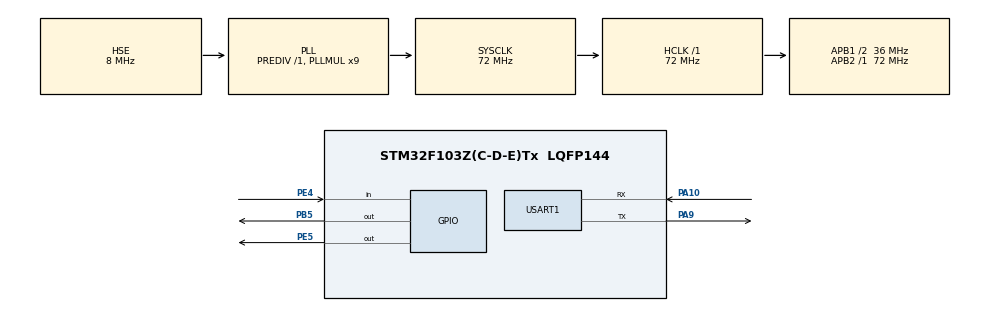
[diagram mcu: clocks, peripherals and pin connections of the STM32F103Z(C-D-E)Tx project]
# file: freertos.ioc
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FREERTOS.Tasks01=defaultTask,0,128,StartDefaultTask,Default,NULL,Dynamic,NULL,NULL;myTask02,0,128,StartTask02,Default,NULL,Dynamic,NULL,NULL;myTask03,-1,128,StartTask03,Default,NULL,Dynamic,NULL,NULL;printTask,-2,128,StartTask04,Default,NULL,Dynamic,NULL,NULL
Mcu.Family=STM32F1
Mcu.Name=STM32F103Z(C-D-E)Tx
Mcu.Package=LQFP144
NVIC.PriorityGroup=NVIC_PRIORITYGROUP_4
NVIC.TIM4_IRQn=true\:15\:0\:false\:false\:true\:false\:false\:true
NVIC.TimeBase=TIM4_IRQn
NVIC.TimeBaseIP=TIM4
OSC_IN.Mode=HSE-External-Oscillator
OSC_IN.Signal=RCC_OSC_IN
OSC_OUT.Mode=HSE-External-Oscillator
OSC_OUT.Signal=RCC_OSC_OUT
PA10.Mode=Asynchronous
PA10.Signal=USART1_RX
PA13.Mode=Serial_Wire
PA13.Signal=SYS_JTMS-SWDIO
PA14.Mode=Serial_Wire
PA14.Signal=SYS_JTCK-SWCLK
PA9.Mode=Asynchronous
PA9.Signal=USART1_TX
PB5.Signal=GPIO_Output
PE4.Signal=GPIO_Input
PE5.Signal=GPIO_Output
ProjectManager.HeapSize=0x200
ProjectManager.StackSize=0x400
ProjectManager.TargetToolchain=MDK-ARM V5.32
RCC.AHBFreq_Value=72000000
RCC.APB1CLKDivider=RCC_HCLK_DIV2
RCC.APB1Freq_Value=36000000
RCC.APB1TimFreq_Value=72000000
RCC.APB2Freq_Value=72000000
RCC.APB2TimFreq_Value=72000000
RCC.HCLKFreq_Value=72000000
RCC.PLLMUL=RCC_PLL_MUL9
RCC.PLLSourceVirtual=RCC_PLLSOURCE_HSE
RCC.SYSCLKFreq_VALUE=72000000
RCC.SYSCLKSource=RCC_SYSCLKSOURCE_PLLCLK
RCC.USBFreq_Value=72000000
USART1.VirtualMode=VM_ASYNC
VP_FREERTOS_VS_CMSIS_V1.Mode=CMSIS_V1
VP_SYS_VS_tim4.Mode=TIM4
board=custom

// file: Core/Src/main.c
/* USER CODE BEGIN Header */
/**
  ******************************************************************************
  * @file           : main.c
  * @brief          : Main program body
  ******************************************************************************
  * @attention
  *
  * <h2><center>&copy; Copyright (c) 2026 STMicroelectronics.
  * All rights reserved.</center></h2>
  *
  * This software component is licensed by ST under Ultimate Liberty license
  * SLA0044, the "License"; You may not use this file except in compliance with
  * the License. You may obtain a copy of the License at:
  *                             www.st.com/SLA0044
  *
  ******************************************************************************
  */
/* USER CODE END Header */
#include "main.h"
#include "cmsis_os.h"
#include "usart.h"
#include "gpio.h"

void SystemClock_Config(void);
void MX_FREERTOS_Init(void);

int main(void)
{

  /* MCU Configuration--------------------------------------------------------*/

  /* Reset of all peripherals, Initializes the Flash interface and the Systick. */
  HAL_Init();

  /* Configure the system clock */
  SystemClock_Config();

  /* Initialize all configured peripherals */
  MX_GPIO_Init();
  MX_USART1_UART_Init();

  /* Call init function for freertos objects (in freertos.c) */
  MX_FREERTOS_Init();
  /* Start scheduler */
  osKernelStart();

  /* We should never get here as control is now taken by the scheduler */
  /* Infinite loop */
  while (1)
  {

  }
}

void SystemClock_Config(void)
{
  RCC_OscInitTypeDef RCC_OscInitStruct = {0};
  RCC_ClkInitTypeDef RCC_ClkInitStruct = {0};

  /** Initializes the RCC Oscillators according to the specified parameters
  * in the RCC_OscInitTypeDef structure.
  */
  RCC_OscInitStruct.OscillatorType = RCC_OSCILLATORTYPE_HSE;
  RCC_OscInitStruct.HSEState = RCC_HSE_ON;
  RCC_OscInitStruct.HSEPredivValue = RCC_HSE_PREDIV_DIV1;
  RCC_OscInitStruct.HSIState = RCC_HSI_ON;
  RCC_OscInitStruct.PLL.PLLState = RCC_PLL_ON;
  RCC_OscInitStruct.PLL.PLLSource = RCC_PLLSOURCE_HSE;
  RCC_OscInitStruct.PLL.PLLMUL = RCC_PLL_MUL9;
  if (HAL_RCC_OscConfig(&RCC_OscInitStruct) != HAL_OK)
  {
    Error_Handler();
  }
  /** Initializes the CPU, AHB and APB buses clocks
  */
  RCC_ClkInitStruct.ClockType = RCC_CLOCKTYPE_HCLK|RCC_CLOCKTYPE_SYSCLK
                              |RCC_CLOCKTYPE_PCLK1|RCC_CLOCKTYPE_PCLK2;
  RCC_ClkInitStruct.SYSCLKSource = RCC_SYSCLKSOURCE_PLLCLK;
  RCC_ClkInitStruct.AHBCLKDivider = RCC_SYSCLK_DIV1;
  RCC_ClkInitStruct.APB1CLKDivider = RCC_HCLK_DIV2;
  RCC_ClkInitStruct.APB2CLKDivider = RCC_HCLK_DIV1;

  if (HAL_RCC_ClockConfig(&RCC_ClkInitStruct, FLASH_LATENCY_2) != HAL_OK)
  {
    Error_Handler();
  }
}

void HAL_TIM_PeriodElapsedCallback(TIM_HandleTypeDef *htim)
{
  if (htim->Instance == TIM4) {
    HAL_IncTick();
  }
}

void Error_Handler(void)
{
  __disable_irq();
  while (1)
  {
  }
}

/************************ (C) COPYRIGHT STMicroelectronics *****END OF FILE****/

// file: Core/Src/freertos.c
/* USER CODE BEGIN Header */
/**
  ******************************************************************************
  * File Name          : freertos.c
  * Description        : Code for freertos applications
  ******************************************************************************
  * @attention
  *
  * <h2><center>&copy; Copyright (c) 2026 STMicroelectronics.
  * All rights reserved.</center></h2>
  *
  * This software component is licensed by ST under Ultimate Liberty license
  * SLA0044, the "License"; You may not use this file except in compliance with
  * the License. You may obtain a copy of the License at:
  *                             www.st.com/SLA0044
  *
  ******************************************************************************
  */
/* USER CODE END Header */

#include "FreeRTOS.h"
#include "task.h"
#include "main.h"
#include "cmsis_os.h"

/* USER CODE BEGIN PTD */
volatile uint32_t a = 500;
volatile uint32_t b = 1000;
/* USER CODE END PTD */

osThreadId defaultTaskHandle;
osThreadId myTask02Handle;
osThreadId myTask03Handle;
osThreadId helloWorldUpperHandle;
osThreadId helloWorldLowerHandle;
osMutexId serialMutexHandle;

void StartDefaultTask(void const * argument);
void StartTask02(void const * argument);
void StartTask03(void const * argument);
void HelloWorldUpperTask(void const * argument);
void HelloWorldLowerTask(void const * argument);

void MX_FREERTOS_Init(void); /* (MISRA C 2004 rule 8.1) */

/* GetIdleTaskMemory prototype (linked to static allocation support) */
void vApplicationGetIdleTaskMemory( StaticTask_t **ppxIdleTaskTCBBuffer, StackType_t **ppxIdleTaskStackBuffer, uint32_t *pulIdleTaskStackSize );

/* USER CODE BEGIN GET_IDLE_TASK_MEMORY */
static StaticTask_t xIdleTaskTCBBuffer;
static StackType_t xIdleStack[configMINIMAL_STACK_SIZE];

void vApplicationGetIdleTaskMemory( StaticTask_t **ppxIdleTaskTCBBuffer, StackType_t **ppxIdleTaskStackBuffer, uint32_t *pulIdleTaskStackSize )
{
  *ppxIdleTaskTCBBuffer = &xIdleTaskTCBBuffer;
  *ppxIdleTaskStackBuffer = &xIdleStack[0];
  *pulIdleTaskStackSize = configMINIMAL_STACK_SIZE;
  /* place for user code */
}
/* USER CODE END GET_IDLE_TASK_MEMORY */

void MX_FREERTOS_Init(void) {

  /* USER CODE BEGIN RTOS_MUTEX */
  /* add mutexes, ... */
osMutexDef(serialMutex);
  serialMutexHandle = osMutexCreate(osMutex(serialMutex));
  /* USER CODE END RTOS_MUTEX */

  /* Create the thread(s) */
  /* definition and creation of defaultTask */

  osThreadDef(defaultTask, StartDefaultTask, osPriorityNormal, 0, 128);
  defaultTaskHandle = osThreadCreate(osThread(defaultTask), NULL);

	  /* definition and creation of myTask02 */
  osThreadDef(myTask02, StartTask02, osPriorityNormal, 0, 128);
  myTask02Handle = osThreadCreate(osThread(myTask02), NULL);

	 osThreadDef(helloWorldUpper, HelloWorldUpperTask, osPriorityBelowNormal, 0, 128);
  helloWorldUpperHandle = osThreadCreate(osThread(helloWorldUpper), NULL);

 osThreadDef(helloWorldLower, HelloWorldLowerTask, osPriorityBelowNormal, 0, 128);
  helloWorldLowerHandle = osThreadCreate(osThread(helloWorldLower), NULL);

  /* definition and creation of helloWorldLower */

  /* definition and creation of myTask03 */
  osThreadDef(myTask03, StartTask03, osPriorityNormal, 0, 128);
  myTask03Handle = osThreadCreate(osThread(myTask03), NULL);

  /* definition and creation of helloWorldUpper */

}

void StartDefaultTask(void const * argument)
{
  /* USER CODE BEGIN StartDefaultTask */
  /* Infinite loop */
  for(;;)
  {
		HAL_GPIO_TogglePin(GPIOB,GPIO_PIN_5);
		osDelay(a);
  }
  /* USER CODE END StartDefaultTask */
}

void StartTask02(void const * argument)
{
  /* USER CODE BEGIN StartTask02 */
  /* Infinite loop */
  for(;;)
  {
    HAL_GPIO_TogglePin(GPIOE,GPIO_PIN_5);
		osDelay(b);
  }
  /* USER CODE END StartTask02 */
}

void StartTask03(void const * argument)
{
  /* USER CODE BEGIN StartTask03 */
	uint32_t c;
  /* Infinite loop */
  for(;;)
  {
    if(HAL_GPIO_ReadPin(GPIOE,GPIO_PIN_4) == 0)
    {
      osDelay(30);
      if(HAL_GPIO_ReadPin(GPIOE,GPIO_PIN_4) == 0)
      {
        c = a;
        a = b;
        b = c;
      }
      while(HAL_GPIO_ReadPin(GPIOE,GPIO_PIN_4) == 0)
      {
        osDelay(10);
      }
    }
    osDelay(10);
  }
  /* USER CODE END StartTask03 */
}

void HelloWorldUpperTask(void const * argument)
{
  /* USER CODE BEGIN HelloWorldUpperTask */
  /* Infinite loop */
  for(;;)
  {
    osMutexWait(serialMutexHandle, osWaitForever);
    printf("HELLO WORLD\r\n");
    osMutexRelease(serialMutexHandle);
    vTaskDelay(500);
  }
  /* USER CODE END HelloWorldUpperTask */
}

void HelloWorldLowerTask(void const * argument)
{
  /* USER CODE BEGIN HelloWorldLowerTask */
  /* Infinite loop */
  for(;;)
  {
    osMutexWait(serialMutexHandle, osWaitForever);
    printf("hello world\r\n");
    osMutexRelease(serialMutexHandle);
    vTaskDelay(500);
  }
  /* USER CODE END HelloWorldLowerTask */
}

/************************ (C) COPYRIGHT STMicroelectronics *****END OF FILE****/
